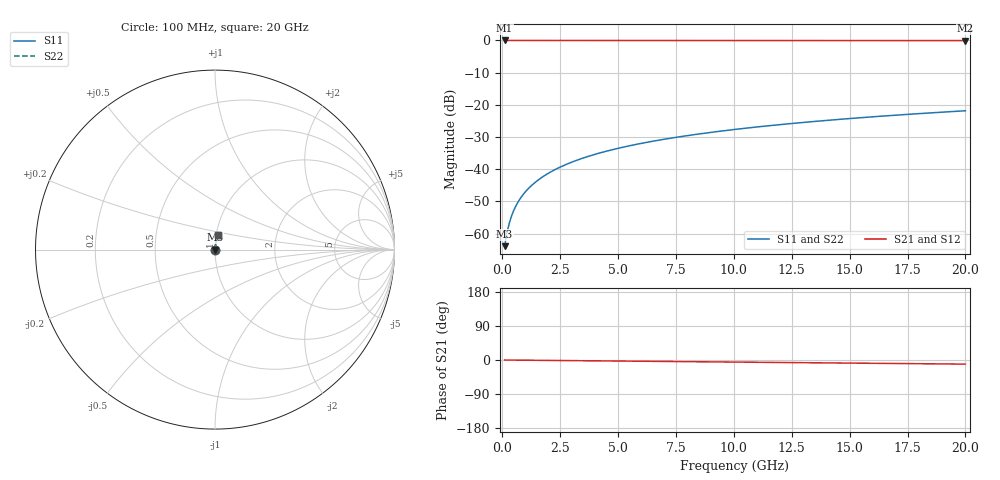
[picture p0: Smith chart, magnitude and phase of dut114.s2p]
! Touchstone file exported from HFSS 2026.1.0
!  File:  C:/ffzhzh/LocalFiles/Ansys_Project_Files/temp_train_TSV_114_1782989789_42984.aedt
!  Generated:  06:58:17 PM Jul  2, 2026
!  Design:  TSV
!  Project:  temp_train_TSV_114_1782989789_42984
! Variables:
!  h_bsmrdl = 2um
!  h_ox = 20um
!  h_rdl = 5um
!  h_sub = 99.79um
!  h_tmrdl = 5um
!  h_tsv = 99.79um
!  h_via = 3um
!  l_bsmrdl = 300um
!  l_sub = 410.52um
!  l_tmrdl = 200um
!  m_sub = 200um
!  pitch = 42.26um
!  r_tsv = 5.26um
!  s_tmrdl = 10um
!  w_bsmrdl = 18um
!  w_sub = 500um
!  w_tmrdl = 12um
!  x_tsv_center1 = 206um
!  x_tsv_center2 = 524um
!  x_tsv_center3 = 736um
!  x_tsv_center4 = 1054um
!  x_tsv_center5 = 1266um
!  x_tsv_center6 = 1584um
# GHz S MA R 50.000000
! Terminal data exported
! Port[1] = TSV1_1_T1
! Port[2] = TSV1_1_T2
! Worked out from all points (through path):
!   200 points, 100 MHz to 20 GHz, reference 50 ohm
!   highest |S21| = 0.00 dB at 100 MHz (marker M1); lowest = -0.1 dB at 20 GHz (marker M2)
!   group delay of S21, straight-line fit = 1.5 ps
!   lowest |S11| = -63.9 dB at 100 MHz (marker M3), VSWR 1.00, Z = 50 + j0.0457 ohm
!   |S11| at or under -10 dB: start of sweep to end of sweep
!   |S22| runs from -63.9 to -21.9 dB; largest |S21 - S12| = 3e-15
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0.1  0.0006364 45.9  0.9996 -0.1  0.9996 -0.1  0.0006364 45.9
! Gamma 0 0 0 0
! Port Impedance 50 0 50 0
0.2  0.001019 63.5  0.9995 -0.1  0.9995 -0.1  0.001019 63.5
0.3  0.001442 70.9  0.9995 -0.2  0.9995 -0.2  0.001442 70.9
0.4  0.001876 74.8  0.9995 -0.2  0.9995 -0.2  0.001876 74.8
0.5  0.002311 77.0  0.9995 -0.3  0.9995 -0.3  0.002311 77.0
0.7  0.003176 79.6  0.9994 -0.4  0.9994 -0.4  0.003176 79.6
0.8  0.003606 80.4  0.9994 -0.5  0.9994 -0.5  0.003606 80.4
1  0.00446 81.5  0.9994 -0.6  0.9994 -0.6  0.00446 81.5
1.2  0.005309 82.3  0.9993 -0.7  0.9993 -0.7  0.005309 82.3
1.4  0.006155 82.8  0.9993 -0.8  0.9993 -0.8  0.006155 82.8
1.7  0.00742 83.4  0.9992 -1.0  0.9992 -1.0  0.00742 83.4
2  0.008682 83.7  0.9992 -1.1  0.9992 -1.1  0.008682 83.7
2.7  0.01161 84.1  0.999 -1.5  0.999 -1.5  0.01161 84.1
3.5  0.01493 84.1  0.9989 -1.9  0.9989 -1.9  0.01493 84.1
4.2  0.01782 84.0  0.9987 -2.3  0.9987 -2.3  0.01782 84.0
5  0.02109 83.8  0.9985 -2.8  0.9985 -2.8  0.02109 83.8
6.8  0.0284 83.3  0.9981 -3.7  0.9981 -3.7  0.0284 83.3
8.3  0.03444 82.7  0.9978 -4.5  0.9978 -4.5  0.03444 82.7
10.1  0.04167 82.0  0.9973 -5.5  0.9973 -5.5  0.04167 82.0
13.4  0.05484 80.6  0.9965 -7.3  0.9965 -7.3  0.05484 80.6
16.7  0.06789 79.0  0.9954 -9.1  0.9954 -9.1  0.06789 79.0
20  0.08078 77.4  0.9942 -10.8  0.9942 -10.8  0.08078 77.4
